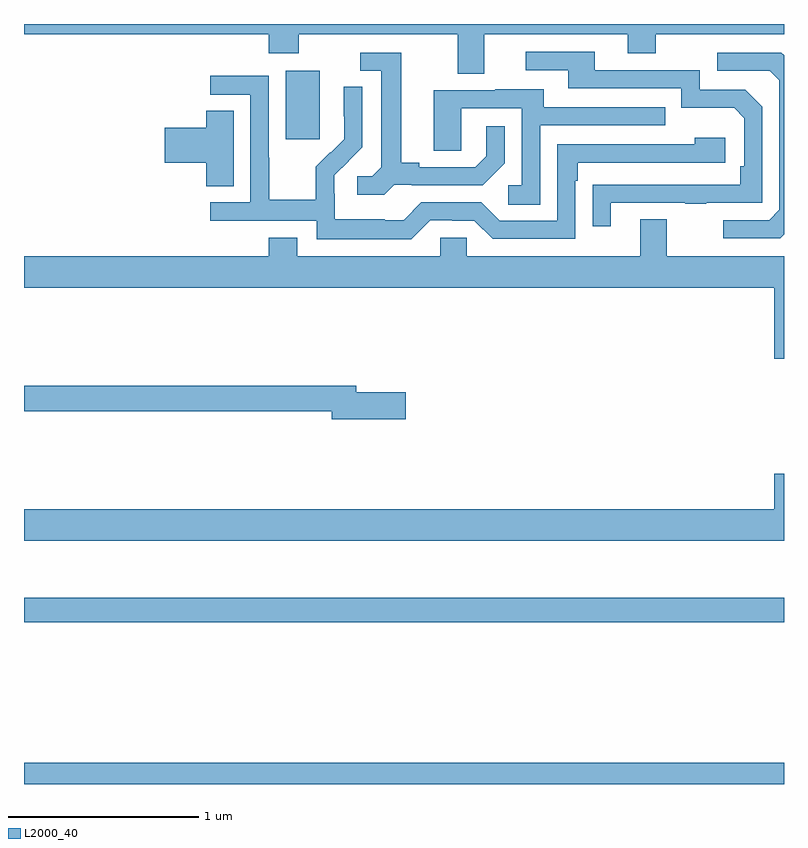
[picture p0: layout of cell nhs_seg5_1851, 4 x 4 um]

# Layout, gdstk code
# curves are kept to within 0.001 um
import gdstk
lib = gdstk.Library(unit=1e-6, precision=1e-09)
def R(c, l, rs):  # rectangles x0, y0, x1, y1
    for r in rs: c.add(gdstk.rectangle(r[:2], r[2:], *l))
def P(c, l, *ps):  # polygons
    for p in ps: c.add(gdstk.Polygon(p, *l))
L2000_40 = (2000, 40)

nhs_seg5_1851 = lib.new_cell('nhs_seg5_1851')
R(nhs_seg5_1851, L2000_40, [(221,868.799,225,868.912), (221,869.65,225,869.779), (222.377,872.193,222.556,872.554)])
P(nhs_seg5_1851, L2000_40, [(221,872.744),(222.287,872.744),(222.287,872.645),(222.447,872.645),(222.447,872.744),(223.283,872.744),(223.283,872.536),(223.423,872.536),(223.423,872.744),(224.177,872.744),(224.177,872.645),(224.325,872.645),(224.325,872.744),(225,872.744),(225,872.799),(221,872.799)],
  [(224.089,871.857),(224.479,871.857),(224.479,871.852),(224.591,871.852),(224.591,871.857),(224.886,871.857),(224.886,872.364),(224.796,872.454),(224.556,872.454),(224.556,872.556),(224.005,872.556),(224.005,872.652),(223.641,872.652),(223.641,872.556),(223.865,872.556),(223.865,872.46),(224.46,872.46),(224.46,872.357),(224.737,872.357),(224.79,872.304),(224.79,872.05),(224.77,872.05),(224.77,871.953),(223.993,871.952),(223.993,871.734),(224.089,871.734)],
  [(222.948,871.953),(223.042,871.953),(223.042,871.95),(223.414,871.95),(223.53,872.066),(223.53,872.26),(223.433,872.26),(223.433,872.103),(223.376,872.046),(223.081,872.046),(223.081,872.069),(222.985,872.069),(222.985,872.649),(222.771,872.649),(222.771,872.553),(222.881,872.553),(222.881,872.045),(222.834,871.998),(222.753,871.998),(222.753,871.901),(222.896,871.901)],
  [(225,871.692),(225,872.634),(224.985,872.649),(224.649,872.649),(224.649,872.553),(224.925,872.553),(224.976,872.502),(224.976,871.821),(224.922,871.767),(224.679,871.767),(224.679,871.671),(224.979,871.671)],
  [(223.137,871.767),(223.253,871.767),(223.253,871.764),(223.371,871.764),(223.467,871.668),(223.902,871.668),(223.902,871.973),(223.915,871.973),(223.915,872.07),(224.692,872.07),(224.692,872.2),(224.531,872.2),(224.531,872.166),(223.806,872.166),(223.806,871.764),(223.503,871.764),(223.407,871.86),(223.092,871.86),(222.999,871.767),(222.899,871.767),(222.899,871.771),(222.636,871.771),(222.636,871.905),(222.634,871.905),(222.634,872.002),(222.78,872.15),(222.78,872.468),(222.684,872.468),(222.684,872.314),(222.686,872.314),(222.686,872.192),(222.615,872.121),(222.612,872.124),(222.535,872.047),(222.535,871.873),(222.291,871.873),(222.291,872.096),(222.288,872.096),(222.288,872.526),(221.979,872.526),(221.979,872.427),(222.192,872.427),(222.192,871.86),(221.979,871.86),(221.979,871.764),(222.54,871.764),(222.54,871.667),(223.037,871.667)],
  [(223.716,872.265),(224.375,872.265),(224.375,872.361),(223.735,872.361),(223.735,872.455),(223.481,872.455),(223.481,872.451),(223.157,872.451),(223.157,872.131),(223.302,872.131),(223.302,872.355),(223.62,872.355),(223.62,871.95),(223.548,871.95),(223.548,871.849),(223.716,871.849)],
  [(222.103,872.342),(221.96,872.342),(221.96,872.252),(221.742,872.252),(221.742,872.069),(221.96,872.069),(221.96,871.945),(222.103,871.945)],
  [(225,871.576),(224.383,871.576),(224.383,871.771),(224.243,871.771),(224.243,871.576),(223.329,871.576),(223.329,871.674),(223.191,871.674),(223.191,871.576),(222.439,871.576),(222.439,871.675),(222.287,871.675),(222.287,871.576),(221,871.576),(221,871.412),(224.948,871.412),(224.948,871.038),(225,871.038)],
  [(223.009,870.86),(222.748,870.86),(222.748,870.896),(221,870.896),(221,870.76),(222.62,870.76),(222.62,870.718),(223.009,870.718)],
  [(225,870.433),(224.948,870.433),(224.948,870.244),(221,870.244),(221,870.08),(225,870.08)])

lib.write_gds('nhs_seg5_1851.gds')
